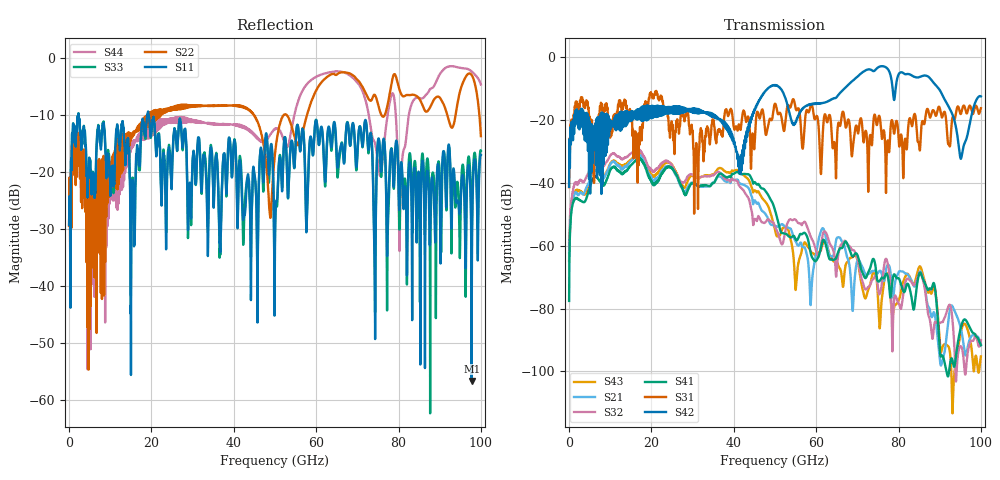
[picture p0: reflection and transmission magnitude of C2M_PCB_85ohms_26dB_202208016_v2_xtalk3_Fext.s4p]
! Info: Touchstone file created by Circ.  Input file=Intel_C2M_200G_11p0in_202208016_staggered.circ
# Hz S RI R 50
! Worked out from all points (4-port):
!   10000 points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, 10 MHz to 100 GHz, reference 50 ohm
!   strongest paths, dB at 10 MHz, 25.01 GHz, 50.01 GHz, 75.01 GHz, 100 GHz:
!     S42: -41.3, -17.2, -8.9, -3.3, -12.5
!     S31: -41.4, -22.1, -14.8, -19.8, -16.2
!     S41: -77.6, -35.4, -48.7, -71.4, -91.6
!     S32: -59.0, -34.4, -53.9, -73.4, -90.1
!     S21: -62.1, -35.5, -53.7, -68.6, -91.3
!     S43: -64.8, -34.3, -55.0, -76.6, -95.2
!   lowest |S11| = -56.6 dB at 97.76 GHz (marker M1), VSWR 1.00, Z = 50.1 - j0.0533 ohm
!   |S11| at or under -10 dB: start of sweep to 2.237 GHz; 2.319 GHz to 18.93 GHz (16.61 GHz wide, 156 % of centre); 19.29 GHz to end of sweep
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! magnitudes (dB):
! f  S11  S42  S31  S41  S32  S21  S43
! 10 MHz  -29.2  -41.3  -41.4  -77.6  -59.0  -62.1  -64.8
! 16.99 GHz  -18.6  -19.6  -24.3  -32.4  -29.5  -31.3  -30.9
! 41.5 GHz  -17.9  -32.6  -22.8  -37.1  -41.2  -40.2  -36.9
! 58.72 GHz  -13.8  -15.1  -15.2  -62.6  -57.3  -77.8  -62.0
! 80.34 GHz  -22.2  -4.9  -27.0  -71.2  -79.5  -68.0  -76.2
! 97.76 GHz  -56.6  -18.3  -17.0  -87.2  -90.3  -88.7  -93.0
! 100 GHz  -16.9  -12.5  -16.2  -91.6  -90.1  -91.3  -95.2
